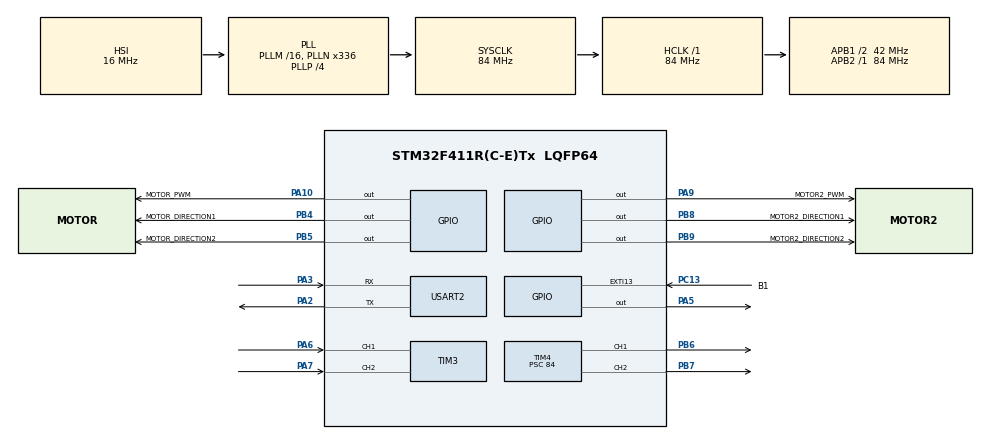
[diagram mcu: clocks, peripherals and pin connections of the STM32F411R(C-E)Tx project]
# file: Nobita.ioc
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Mcu.Family=STM32F4
Mcu.Name=STM32F411R(C-E)Tx
Mcu.Package=LQFP64
NVIC.EXTI15_10_IRQn=true\:0\:0\:false\:false\:true\:true\:true
NVIC.PriorityGroup=NVIC_PRIORITYGROUP_4
NVIC.TIM1_UP_TIM10_IRQn=true\:0\:0\:false\:false\:true\:true\:true
NVIC.USART2_IRQn=true\:0\:0\:false\:false\:true\:true\:true
PA10.GPIO_Label=MOTOR_PWM
PA10.Signal=GPIO_Output
PA13.GPIO_Label=TMS
PA13.Signal=SYS_JTMS-SWDIO
PA14.GPIO_Label=TCK
PA14.Signal=SYS_JTCK-SWCLK
PA2.Mode=Asynchronous
PA2.Signal=USART2_TX
PA3.Mode=Asynchronous
PA3.Signal=USART2_RX
PA5.Signal=GPIO_Output
PA6.GPIO_PuPd=GPIO_PULLUP
PA6.Signal=S_TIM3_CH1
PA7.GPIO_PuPd=GPIO_PULLUP
PA7.Signal=S_TIM3_CH2
PA9.GPIO_Label=MOTOR2_PWM
PA9.Signal=GPIO_Output
PB3.GPIO_Label=SWO
PB3.Signal=SYS_JTDO-SWO
PB4.GPIO_Label=MOTOR_DIRECTION1
PB4.Signal=GPIO_Output
PB5.GPIO_Label=MOTOR_DIRECTION2
PB5.Signal=GPIO_Output
PB6.Signal=S_TIM4_CH1
PB7.Signal=S_TIM4_CH2
PB8.GPIO_Label=MOTOR2_DIRECTION1
PB8.Signal=GPIO_Output
PB9.GPIO_Label=MOTOR2_DIRECTION2
PB9.Signal=GPIO_Output
PC13-ANTI_TAMP.GPIO_Label=B1
PC13-ANTI_TAMP.Signal=GPXTI13
PC14-OSC32_IN.Mode=LSE-External-Oscillator
PC14-OSC32_IN.Signal=RCC_OSC32_IN
PC15-OSC32_OUT.Mode=LSE-External-Oscillator
PC15-OSC32_OUT.Signal=RCC_OSC32_OUT
PH0\ -\ OSC_IN.Mode=HSE-External-Clock-Source
PH0\ -\ OSC_IN.Signal=RCC_OSC_IN
PH1\ -\ OSC_OUT.Mode=HSE-External-Clock-Source
PH1\ -\ OSC_OUT.Signal=RCC_OSC_OUT
ProjectManager.HeapSize=0x200
ProjectManager.StackSize=0x400
ProjectManager.TargetToolchain=STM32CubeIDE
RCC.48MHZClocksFreq_Value=84000000
RCC.AHBFreq_Value=84000000
RCC.APB1CLKDivider=RCC_HCLK_DIV2
RCC.APB1Freq_Value=42000000
RCC.APB1TimFreq_Value=84000000
RCC.APB2Freq_Value=84000000
RCC.APB2TimFreq_Value=84000000
RCC.CortexFreq_Value=84000000
RCC.HCLKFreq_Value=84000000
RCC.HSE_VALUE=8000000
RCC.HSI_VALUE=16000000
RCC.PLLN=336
RCC.PLLP=RCC_PLLP_DIV4
RCC.SYSCLKFreq_VALUE=84000000
RCC.SYSCLKSource=RCC_SYSCLKSOURCE_PLLCLK
RCC.VCOOutputFreq_Value=336000000
SH.S_TIM3_CH1.0=TIM3_CH1,Encoder_Interface
SH.S_TIM3_CH2.0=TIM3_CH2,Encoder_Interface
SH.S_TIM4_CH1.0=TIM4_CH1,PWM Generation1 CH1
SH.S_TIM4_CH2.0=TIM4_CH2,PWM Generation2 CH2
TIM1.Period=9999
TIM1.Prescaler=8400
TIM4.Channel-PWM\ Generation1\ CH1=TIM_CHANNEL_1
TIM4.Channel-PWM\ Generation2\ CH2=TIM_CHANNEL_2
TIM4.Period=1000
TIM4.Prescaler=84
USART2.VirtualMode=VM_ASYNC
VP_TIM1_VS_ClockSourceINT.Mode=Internal
board=custom

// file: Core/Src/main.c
/* USER CODE BEGIN Header */
/**
  ******************************************************************************
  * @file           : main.c
  * @brief          : Main program body
  ******************************************************************************
  * @attention
  *
  * <h2><center>&copy; Copyright (c) 2020 STMicroelectronics.
  * All rights reserved.</center></h2>
  *
  * This software component is licensed by ST under BSD 3-Clause license,
  * the "License"; You may not use this file except in compliance with the
  * License. You may obtain a copy of the License at:
  *                        opensource.org/licenses/BSD-3-Clause
  *
  ******************************************************************************
  */
/* USER CODE END Header */
#include "main.h"

/* USER CODE BEGIN Includes */
#include "stdio.h"
/* USER CODE END Includes */

TIM_HandleTypeDef htim1;
TIM_HandleTypeDef htim3;
TIM_HandleTypeDef htim4;

UART_HandleTypeDef huart2;

void SystemClock_Config(void);
static void MX_GPIO_Init(void);
static void MX_TIM4_Init(void);
static void MX_TIM3_Init(void);
static void MX_USART2_UART_Init(void);
static void MX_TIM1_Init(void);

/* USER CODE BEGIN 0 */
uint8_t RX2_Char[2];
uint8_t Char_Buffer[20];
uint8_t Char_Buffer_length = 0;
uint8_t Char_Buffer_isRecieving = 0;

uint8_t MSG1[50];
uint8_t MSG1_length;

uint8_t MSG2[50];
uint8_t MSG2_length;

uint32_t encoder_value_l = 0;
uint32_t encoder_value_r = 0;
float rpm_value_l = 0.00;
float rpm_value_r = 0.00;

float linear_vel_x = 0.0;
float angular_vel_z = 0.0;
float wheel_l = 0.0;
float wheel_r = 0.0;
int direction_l = 0;
int direction_r = 0;
float encoder_l = 0.0;
float encoder_r = 0.0;

//PID Variables
float kp = 1;
float ki = 0.01;
float kd = 1;
//Set point is wheel_l and wheel_r
unsigned long currentTime, previousTime, elapsedTime;
float error, error_p;
float intVal_L, intVal_R, outVal, setPoint;
float cumError = 0;
float rateError = 0;
float PIDOut_L = 0;
float PIDOut_R = 0;
//PID Struct
//typedef struct PIDValues{
//	float input = 0;
//	float setPoint = 	0;
//	float error = 0;
//	float error_p = 0;
//	float cumError = 0;
//	float rateErorr = 0;
//	float output = 0;
//};
//PIDValues left_wheel;
//PIDValues right_wheel;
//PIDValues left_steer;
//PIDValues right_steer;

float inputleft_wheel = 0;
float setPointleft_wheel = 0;
float errorleft_wheel = 0;
float error_pleft_wheel = 0;
float cumErrorleft_wheel = 0;
float rateErorrleft_wheel = 0;
float outputleft_wheel = 0;

float inputright_wheel = 0;
float setPointright_wheel = 	0;
float errorright_wheel = 0;
float error_pright_wheel = 0;
float cumErrorright_wheel = 0;
float rateErorrright_wheel = 0;
float outputright_wheel = 0;

float inputleft_steer = 0;
float setPointleft_steer = 	0;
float errorleft_steer = 0;
float error_pleft_steer = 0;
float cumErrorleft_steer = 0;
float rateErorrleft_steer = 0;
float outputleft_steer = 0;

float inputright_steer = 0;
float setPointright_steer = 0;
float errorright_steer = 0;
float error_pright_steer = 0;
float cumErrorright_steer = 0;
float rateErorrright_steer = 0;
float outputright_steer = 0;

float computePID(float input, float setpoint){  //float _input, float _setPoint
  //currentTime = millis();
  //elapsedTime = (float)(currentTime-elapsedTime);
  error = setpoint - input;
  cumError += (error * elapsedTime);
  rateError += (error - error_p)/elapsedTime;
  float output = kp*error + ki*cumError + kd*rateError;
  error_p = error;
  //previousTime = currentTime;
  return output;
}

//volatile uint32_t counter = 0;
//SysTick_Config (SystemCoreClock / 1000);
//SysTick_Handler(void) {
//  counter++;
//}
//uint32_t millis() {
//  return counter;
//}

uint32_t millis(void)
{
    uint16_t CURRENT_TIMER1_COUNT = __HAL_TIM_GET_COUNTER(&htim1);

    uint16_t currentMillis = 0;
    uint16_t systemMillis = 0;
    if(CURRENT_TIMER1_COUNT>=100)
    {
        currentMillis = CURRENT_TIMER1_COUNT/100;
        systemMillis = systemMillis + currentMillis;
        __HAL_TIM_SET_COUNTER (&htim1, 0);
    }
    return systemMillis;
}

void getTime(){
  currentTime = millis();
  elapsedTime = (float)(currentTime-elapsedTime);
  previousTime = currentTime;
}

char buff1[50];
int out1;
char buff2[50];
int out2;

void set_speed(float Vx, float W){
	uint8_t direction_l = 1;
	uint8_t direction_r = 1;
	float _Wl = (Vx - (2.22169002*W))/1.08 ;
	float _Wr = ((2.22169002*W) + Vx)/1.08;
	if(_Wl < 0){
	  direction_l = 0;
	  _Wl = -_Wl;
	 }
	if(_Wr < 0){
		direction_r = 0;
		_Wr = -_Wr;
	}
	wheel_l = _Wl;
	wheel_r = _Wr;
//	HAL_GPIO_WritePin(MOTOR_PWM_GPIO_Port,MOTOR_PWM_Pin,direction_l);
	HAL_GPIO_WritePin(MOTOR_DIRECTION1_GPIO_Port,MOTOR_DIRECTION1_Pin,direction_l);
	HAL_GPIO_WritePin(MOTOR_DIRECTION2_GPIO_Port,MOTOR_DIRECTION2_Pin,!direction_l);
	 __HAL_TIM_SET_COMPARE(&htim4, TIM_CHANNEL_1, _Wl);
	//HAL_GPIO_WritePin(MOTOR_PWM_GPIO_Port,MOTOR2_PWM_Pin,direction_r);
	 HAL_GPIO_WritePin(MOTOR2_DIRECTION1_GPIO_Port,MOTOR2_DIRECTION1_Pin,direction_r);
	 HAL_GPIO_WritePin(MOTOR2_DIRECTION2_GPIO_Port,MOTOR2_DIRECTION2_Pin,!direction_r);
	 __HAL_TIM_SET_COMPARE(&htim4, TIM_CHANNEL_2, _Wr);
}
/* USER CODE END 0 */

int main(void)
{

  /* MCU Configuration--------------------------------------------------------*/

  /* Reset of all peripherals, Initializes the Flash interface and the Systick. */
  HAL_Init();

  /* Configure the system clock */
  SystemClock_Config();

  /* Initialize all configured peripherals */
  MX_GPIO_Init();
  MX_TIM4_Init();
  MX_TIM3_Init();
  MX_USART2_UART_Init();
  MX_TIM1_Init();
  /* USER CODE BEGIN 2 */

//  MSG1_length = sprintf(MSG1,"HELLO\n");
  HAL_UART_Transmit_IT(&huart2, MSG1, MSG1_length);

  HAL_UART_Receive_IT(&huart2, RX2_Char, 1);
  HAL_TIM_Base_Start_IT(&htim1);
  HAL_TIM_Encoder_Start(&htim3, TIM_CHANNEL_ALL);

  HAL_TIM_PWM_Start(&htim4, TIM_CHANNEL_1);
//  set_speed(100);
  /* USER CODE END 2 */

  /* Infinite loop */
  /* USER CODE BEGIN WHILE */
  while (1)
  {
	encoder_l = encoder_value_l;
	encoder_r = encoder_value_r;
	//encoder_r =
	  getTime();
	  //Left wheel
	  inputleft_wheel = encoder_l;
	  setPointleft_wheel = wheel_l;
	  //RIGHT WHEEL
	  inputright_wheel = encoder_r;
	  setPointright_wheel = wheel_r;
	  PIDOut_L = computePID(inputleft_wheel, setPointleft_wheel);
	  PIDOut_R = computePID(inputright_wheel, setPointright_wheel);
    /* USER CODE END WHILE */

    /* USER CODE BEGIN 3 */
//	  encoder_value = htim3.Instance->CNT;
//	  MSG1_length = sprintf(MSG1, "Encoder value = %ld\r\n", encoder_value);
// 	  HAL_UART_Transmit_IT(&huart2, MSG1, MSG1_length);
  }
  /* USER CODE END 3 */
}

void SystemClock_Config(void)
{
  RCC_OscInitTypeDef RCC_OscInitStruct = {0};
  RCC_ClkInitTypeDef RCC_ClkInitStruct = {0};

  /** Configure the main internal regulator output voltage
  */
  __HAL_RCC_PWR_CLK_ENABLE();
  __HAL_PWR_VOLTAGESCALING_CONFIG(PWR_REGULATOR_VOLTAGE_SCALE1);
  /** Initializes the RCC Oscillators according to the specified parameters
  * in the RCC_OscInitTypeDef structure.
  */
  RCC_OscInitStruct.OscillatorType = RCC_OSCILLATORTYPE_HSI;
  RCC_OscInitStruct.HSIState = RCC_HSI_ON;
  RCC_OscInitStruct.HSICalibrationValue = RCC_HSICALIBRATION_DEFAULT;
  RCC_OscInitStruct.PLL.PLLState = RCC_PLL_ON;
  RCC_OscInitStruct.PLL.PLLSource = RCC_PLLSOURCE_HSI;
  RCC_OscInitStruct.PLL.PLLM = 16;
  RCC_OscInitStruct.PLL.PLLN = 336;
  RCC_OscInitStruct.PLL.PLLP = RCC_PLLP_DIV4;
  RCC_OscInitStruct.PLL.PLLQ = 4;
  if (HAL_RCC_OscConfig(&RCC_OscInitStruct) != HAL_OK)
  {
    Error_Handler();
  }
  /** Initializes the CPU, AHB and APB buses clocks
  */
  RCC_ClkInitStruct.ClockType = RCC_CLOCKTYPE_HCLK|RCC_CLOCKTYPE_SYSCLK
                              |RCC_CLOCKTYPE_PCLK1|RCC_CLOCKTYPE_PCLK2;
  RCC_ClkInitStruct.SYSCLKSource = RCC_SYSCLKSOURCE_PLLCLK;
  RCC_ClkInitStruct.AHBCLKDivider = RCC_SYSCLK_DIV1;
  RCC_ClkInitStruct.APB1CLKDivider = RCC_HCLK_DIV2;
  RCC_ClkInitStruct.APB2CLKDivider = RCC_HCLK_DIV1;

  if (HAL_RCC_ClockConfig(&RCC_ClkInitStruct, FLASH_LATENCY_2) != HAL_OK)
  {
    Error_Handler();
  }
}

static void MX_TIM1_Init(void)
{

  TIM_ClockConfigTypeDef sClockSourceConfig = {0};
  TIM_MasterConfigTypeDef sMasterConfig = {0};

  htim1.Instance = TIM1;
  htim1.Init.Prescaler = 8400;
  htim1.Init.CounterMode = TIM_COUNTERMODE_UP;
  htim1.Init.Period = 9999;
  htim1.Init.ClockDivision = TIM_CLOCKDIVISION_DIV1;
  htim1.Init.RepetitionCounter = 0;
  htim1.Init.AutoReloadPreload = TIM_AUTORELOAD_PRELOAD_DISABLE;
  if (HAL_TIM_Base_Init(&htim1) != HAL_OK)
  {
    Error_Handler();
  }
  sClockSourceConfig.ClockSource = TIM_CLOCKSOURCE_INTERNAL;
  if (HAL_TIM_ConfigClockSource(&htim1, &sClockSourceConfig) != HAL_OK)
  {
    Error_Handler();
  }
  sMasterConfig.MasterOutputTrigger = TIM_TRGO_RESET;
  sMasterConfig.MasterSlaveMode = TIM_MASTERSLAVEMODE_DISABLE;
  if (HAL_TIMEx_MasterConfigSynchronization(&htim1, &sMasterConfig) != HAL_OK)
  {
    Error_Handler();
  }

}

static void MX_TIM3_Init(void)
{

  TIM_Encoder_InitTypeDef sConfig = {0};
  TIM_MasterConfigTypeDef sMasterConfig = {0};

  htim3.Instance = TIM3;
  htim3.Init.Prescaler = 0;
  htim3.Init.CounterMode = TIM_COUNTERMODE_UP;
  htim3.Init.Period = 65535;
  htim3.Init.ClockDivision = TIM_CLOCKDIVISION_DIV1;
  htim3.Init.AutoReloadPreload = TIM_AUTORELOAD_PRELOAD_DISABLE;
  sConfig.EncoderMode = TIM_ENCODERMODE_TI1;
  sConfig.IC1Polarity = TIM_ICPOLARITY_RISING;
  sConfig.IC1Selection = TIM_ICSELECTION_DIRECTTI;
  sConfig.IC1Prescaler = TIM_ICPSC_DIV1;
  sConfig.IC1Filter = 0;
  sConfig.IC2Polarity = TIM_ICPOLARITY_RISING;
  sConfig.IC2Selection = TIM_ICSELECTION_DIRECTTI;
  sConfig.IC2Prescaler = TIM_ICPSC_DIV1;
  sConfig.IC2Filter = 0;
  if (HAL_TIM_Encoder_Init(&htim3, &sConfig) != HAL_OK)
  {
    Error_Handler();
  }
  sMasterConfig.MasterOutputTrigger = TIM_TRGO_RESET;
  sMasterConfig.MasterSlaveMode = TIM_MASTERSLAVEMODE_DISABLE;
  if (HAL_TIMEx_MasterConfigSynchronization(&htim3, &sMasterConfig) != HAL_OK)
  {
    Error_Handler();
  }

}

static void MX_TIM4_Init(void)
{

  TIM_MasterConfigTypeDef sMasterConfig = {0};
  TIM_OC_InitTypeDef sConfigOC = {0};

  htim4.Instance = TIM4;
  htim4.Init.Prescaler = 84;
  htim4.Init.CounterMode = TIM_COUNTERMODE_UP;
  htim4.Init.Period = 1000;
  htim4.Init.ClockDivision = TIM_CLOCKDIVISION_DIV1;
  htim4.Init.AutoReloadPreload = TIM_AUTORELOAD_PRELOAD_DISABLE;
  if (HAL_TIM_PWM_Init(&htim4) != HAL_OK)
  {
    Error_Handler();
  }
  sMasterConfig.MasterOutputTrigger = TIM_TRGO_RESET;
  sMasterConfig.MasterSlaveMode = TIM_MASTERSLAVEMODE_DISABLE;
  if (HAL_TIMEx_MasterConfigSynchronization(&htim4, &sMasterConfig) != HAL_OK)
  {
    Error_Handler();
  }
  sConfigOC.OCMode = TIM_OCMODE_PWM1;
  sConfigOC.Pulse = 0;
  sConfigOC.OCPolarity = TIM_OCPOLARITY_HIGH;
  sConfigOC.OCFastMode = TIM_OCFAST_DISABLE;
  if (HAL_TIM_PWM_ConfigChannel(&htim4, &sConfigOC, TIM_CHANNEL_1) != HAL_OK)
  {
    Error_Handler();
  }
  if (HAL_TIM_PWM_ConfigChannel(&htim4, &sConfigOC, TIM_CHANNEL_2) != HAL_OK)
  {
    Error_Handler();
  }
  HAL_TIM_MspPostInit(&htim4);

}

static void MX_USART2_UART_Init(void)
{

  huart2.Instance = USART2;
  huart2.Init.BaudRate = 115200;
  huart2.Init.WordLength = UART_WORDLENGTH_8B;
  huart2.Init.StopBits = UART_STOPBITS_1;
  huart2.Init.Parity = UART_PARITY_NONE;
  huart2.Init.Mode = UART_MODE_TX_RX;
  huart2.Init.HwFlowCtl = UART_HWCONTROL_NONE;
  huart2.Init.OverSampling = UART_OVERSAMPLING_16;
  if (HAL_UART_Init(&huart2) != HAL_OK)
  {
    Error_Handler();
  }

}

static void MX_GPIO_Init(void)
{
  GPIO_InitTypeDef GPIO_InitStruct = {0};

  /* GPIO Ports Clock Enable */
  __HAL_RCC_GPIOC_CLK_ENABLE();
  __HAL_RCC_GPIOH_CLK_ENABLE();
  __HAL_RCC_GPIOA_CLK_ENABLE();
  __HAL_RCC_GPIOB_CLK_ENABLE();

  /*Configure GPIO pin Output Level */
  HAL_GPIO_WritePin(GPIOA, GPIO_PIN_5|MOTOR2_PWM_Pin|MOTOR_PWM_Pin, GPIO_PIN_RESET);

  /*Configure GPIO pin Output Level */
  HAL_GPIO_WritePin(GPIOB, MOTOR_DIRECTION1_Pin|MOTOR_DIRECTION2_Pin|MOTOR2_DIRECTION1_Pin|MOTOR2_DIRECTION2_Pin, GPIO_PIN_RESET);

  /*Configure GPIO pin : B1_Pin */
  GPIO_InitStruct.Pin = B1_Pin;
  GPIO_InitStruct.Mode = GPIO_MODE_IT_RISING;
  GPIO_InitStruct.Pull = GPIO_NOPULL;
  HAL_GPIO_Init(B1_GPIO_Port, &GPIO_InitStruct);

  /*Configure GPIO pins : PA5 MOTOR2_PWM_Pin MOTOR_PWM_Pin */
  GPIO_InitStruct.Pin = GPIO_PIN_5|MOTOR2_PWM_Pin|MOTOR_PWM_Pin;
  GPIO_InitStruct.Mode = GPIO_MODE_OUTPUT_PP;
  GPIO_InitStruct.Pull = GPIO_NOPULL;
  GPIO_InitStruct.Speed = GPIO_SPEED_FREQ_LOW;
  HAL_GPIO_Init(GPIOA, &GPIO_InitStruct);

  /*Configure GPIO pins : MOTOR_DIRECTION1_Pin MOTOR_DIRECTION2_Pin MOTOR2_DIRECTION1_Pin MOTOR2_DIRECTION2_Pin */
  GPIO_InitStruct.Pin = MOTOR_DIRECTION1_Pin|MOTOR_DIRECTION2_Pin|MOTOR2_DIRECTION1_Pin|MOTOR2_DIRECTION2_Pin;
  GPIO_InitStruct.Mode = GPIO_MODE_OUTPUT_PP;
  GPIO_InitStruct.Pull = GPIO_NOPULL;
  GPIO_InitStruct.Speed = GPIO_SPEED_FREQ_LOW;
  HAL_GPIO_Init(GPIOB, &GPIO_InitStruct);

  /* EXTI interrupt init*/
  HAL_NVIC_SetPriority(EXTI15_10_IRQn, 0, 0);
  HAL_NVIC_EnableIRQ(EXTI15_10_IRQn);

}

/* USER CODE BEGIN 4 */
void HAL_GPIO_EXTI_Callback(uint16_t GPIO_Pin){
//	HAL_GPIO_TogglePin(LD2_GPIO_Port,LD2_Pin);
}
void HAL_UART_TxCpltCallback(UART_HandleTypeDef *huart)
{
	if(huart == &huart2){
		HAL_UART_Receive_IT(&huart2, RX2_Char, 1);
	}
}

void HAL_UART_RxCpltCallback(UART_HandleTypeDef *huart)
{
//	HAL_GPIO_TogglePin(LD2_GPIO_Port,LD2_Pin);
//	HAL_UART_Transmit_IT(&huart2, MSG1, 4);
	if(huart == &huart2){
		if(RX2_Char[0] == '<'){
			Char_Buffer_isRecieving = 1;
		}else if(RX2_Char[0] == '>'){
//			if(Char_Buffer[2] == 'n') 		HAL_GPIO_WritePin(LD2_GPIO_Port,LD2_Pin,1);
//			else if(Char_Buffer[2] == 'f')	HAL_GPIO_WritePin(LD2_GPIO_Port,LD2_Pin,0);
			int speed = 0;
			uint8_t direction = 0;
 			if(Char_Buffer[1] == '-'){
 				direction = 1;
 			}
			if(Char_Buffer_length-1 == 1){
				speed = Char_Buffer[direction+1]-48;
			}
			speed *= 100;
//			set_speed(speed * (direction ? -1:1));

			MSG1_length = sprintf(MSG1,"Set Speed = %d\n", speed);
			HAL_UART_Transmit_IT(&huart2, MSG1, MSG1_length);

//			uint8_t
			Char_Buffer[Char_Buffer_length++] = '>';
			Char_Buffer[Char_Buffer_length++] = '\n';
			HAL_UART_Transmit_IT(&huart2, Char_Buffer, Char_Buffer_length);
			Char_Buffer_isRecieving = 0;
			Char_Buffer_length = 0;
		}

		if(Char_Buffer_isRecieving){
			Char_Buffer[Char_Buffer_length++] = RX2_Char[0];
		}
	}
	HAL_UART_Receive_IT(&huart2, RX2_Char, 1);
}

void HAL_TIM_PeriodElapsedCallback(TIM_HandleTypeDef *htim){
//	HAL_GPIO_TogglePin(Ld2_GPIO_Port,Ld2_Pin);

	encoder_value_l = htim3.Instance->CNT - 30000;
	encoder_value_r = htim3.Instance->CNT - 30000;
	htim3.Instance->CNT = 30000;
	rpm_value_l = encoder_value_l*60.0/46000.0;
	rpm_value_r = encoder_value_r*60.0/46000.0;
	MSG1_length = sprintf(MSG1,"Encoder = %d RPM = %.2f\n", encoder_value_l, rpm_value_l);
	MSG2_length = sprintf(MSG2,"Encoder = %d RPM = %.2f\n", encoder_value_r, rpm_value_r);
	HAL_UART_Transmit_IT(&huart2, MSG1, MSG1_length);
	HAL_UART_Transmit_IT(&huart2, MSG2, MSG2_length);
}

/* USER CODE END 4 */

void Error_Handler(void)
{
}

/************************ (C) COPYRIGHT STMicroelectronics *****END OF FILE****/
